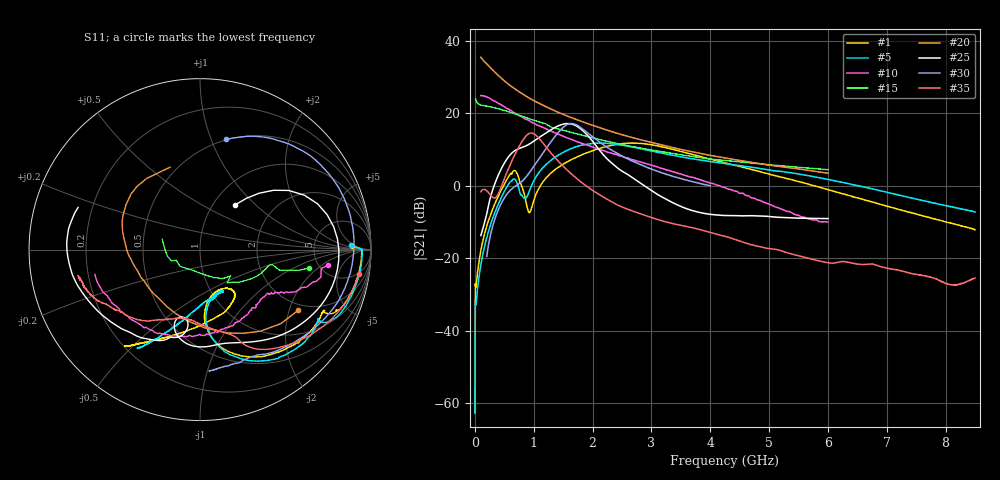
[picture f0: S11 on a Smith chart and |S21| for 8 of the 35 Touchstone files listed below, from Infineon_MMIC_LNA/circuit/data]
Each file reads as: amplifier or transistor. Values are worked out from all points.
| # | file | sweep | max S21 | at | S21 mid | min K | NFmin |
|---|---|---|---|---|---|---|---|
| 1 | BGA7H1N6_1p8V.S2P | 100 kHz to 8.5 GHz | 11.7 dB | 2.694 GHz | 6.3 dB at 4.25 GHz | -797.84 | 0.57 dB |
| 2 | BGA7H1N6_2p8V.S2P | 100 kHz to 8.5 GHz | 11.8 dB | 2.694 GHz | 6.4 dB at 4.25 GHz | -5089.96 | 0.57 dB |
| 3 | BGA7L1N6_1p8V.s2p | 100 kHz to 8.5 GHz | 10.3 dB | 1.015 GHz | -1.1 dB at 4.25 GHz | -699.03 | 0.59 dB |
| 4 | BGA7L1N6_2p8V.s2p | 100 kHz to 8.5 GHz | 10.4 dB | 1.015 GHz | -1.1 dB at 4.25 GHz | -208.85 | 0.59 dB |
| 5 | BGA7M1N6_1p8V.S2P | 100 kHz to 8.5 GHz | 11.7 dB | 2.125 GHz | 6.1 dB at 4.25 GHz | -286.44 | 0.54 dB |
| 6 | BGA7M1N6_2p8V.S2P | 100 kHz to 8.5 GHz | 11.8 dB | 2.157 GHz | 6.2 dB at 4.25 GHz | -452.27 | 0.54 dB |
| 7 | BGA231N7_1p8V.s2p | 10 MHz to 13.5 GHz | 14.2 dB | 1.629 GHz | -13.1 dB at 6.755 GHz | 1.12 | 0.53 dB |
| 8 | BGA231N7_2p6V.s2p | 10 MHz to 13.5 GHz | 14.3 dB | 1.629 GHz | -13.1 dB at 6.755 GHz | 1.15 | 0.54 dB |
| 9 | BGA416_3p0V.s2p | 100 MHz to 6 GHz | 22.4 dB | 150 MHz | 4.7 dB at 3.05 GHz | 1.87 | - |
| 10 | BGA416_4p0V.s2p | 100 MHz to 6 GHz | 24.8 dB | 100 MHz | 5.4 dB at 3.05 GHz | 0.77 | - |
| 11 | BGA416_5p0V.s2p | 100 MHz to 6 GHz | 26.4 dB | 100 MHz | 5.7 dB at 3.05 GHz | 0.85 | - |
| 12 | BGA420_2p0V.S2P | 10 MHz to 6 GHz | 17.7 dB | 10 MHz | 13.3 dB at 1.4 GHz | 1.34 | - |
| 13 | BGA420_3p0V.S2P | 10 MHz to 6 GHz | 21.2 dB | 10 MHz | 14.9 dB at 1.4 GHz | 1.37 | - |
| 14 | BGA420_4p0V.S2P | 10 MHz to 6 GHz | 22.9 dB | 10 MHz | 15.4 dB at 1.4 GHz | 1.40 | - |
| 15 | BGA420_5p0V.S2P | 10 MHz to 6 GHz | 23.9 dB | 10 MHz | 15.7 dB at 1.4 GHz | 1.40 | - |
| 16 | BGA427_2p0V.S2P | 10 MHz to 6 GHz | 27.6 dB | 10 MHz | 18.4 dB at 1.4 GHz | 0.71 | - |
| 17 | BGA427_3p0V.S2P | 10 MHz to 6 GHz | 31.9 dB | 10 MHz | 21.5 dB at 1.4 GHz | 0.43 | - |
| 18 | BGA427_4p0V.S2P | 10 MHz to 6 GHz | 34.1 dB | 10 MHz | 22.8 dB at 1.4 GHz | 0.29 | - |
| 19 | BGA427_5p0V.S2P | 10 MHz to 6 GHz | 35.5 dB | 10 MHz | 23.6 dB at 1.4 GHz | 0.25 | - |
| 20 | BGA428_2p75V.s2p | 100 MHz to 6 GHz | 35.4 dB | 100 MHz | 19.6 dB at 1.5 GHz | 1.10 | - |
| 21 | BGA524N6_1p8V.s2p | 19.05 MHz to 10 GHz | 16.9 dB | 1.575 GHz | -7.9 dB at 5.013 GHz | 3.17 | 0.59 dB |
| 22 | BGA524N6_2p8V.s2p | 19.05 MHz to 10 GHz | 16.9 dB | 1.588 GHz | -7.7 dB at 5.013 GHz | 3.14 | 0.59 dB |
| 23 | BGA612_5p0V.s2p | 100 MHz to 8 GHz | 17.8 dB | 200 MHz | 12.8 dB at 4.1 GHz | 1.04 | - |
| 24 | BGA614_5p0V.s2p | 100 MHz to 8 GHz | 19.4 dB | 200 MHz | 13.4 dB at 4.1 GHz | 1.03 | - |
| 25 | BGA615L7_2p8V.s2p | 100 MHz to 6 GHz | 17.1 dB | 1.575 GHz | -1.9 dB at 3.05 GHz | 0.92 | 0.90 dB |
| 26 | BGA622L7_2p75V_OnMode.s2p | 100 MHz to 10 GHz | 19.1 dB | 500 MHz | 10.3 dB at 5.05 GHz | 1.35 | 0.81 dB |
| 27 | BGA711N7_2p8V_HighGain.s2p | 202.2 MHz to 8.5 GHz | 15.7 dB | 2.146 GHz | -0.5 dB at 4.351 GHz | 3.64 | 0.85 dB |
| 28 | BGA713N7_2p8V_HighGain.s2p | 202.2 MHz to 8.5 GHz | 14.7 dB | 903.4 MHz | -14.8 dB at 4.351 GHz | 3.92 | 0.82 dB |
| 29 | BGA715N7_1p8V.s2p | 200 MHz to 4 GHz | 17.1 dB | 1.635 GHz | 12.0 dB at 2.1 GHz | 7.00 | 0.53 dB |
| 30 | BGA715N7_2p8V.s2p | 200 MHz to 4 GHz | 17.1 dB | 1.64 GHz | 12.2 dB at 2.1 GHz | 6.98 | 0.52 dB |
| 31 | BGA725L6_1p8V.s2p | 100 MHz to 6 GHz | 17.9 dB | 1.584 GHz | 14.8 dB at 1.818 GHz | 2.32 | 0.63 dB |
| 32 | BGA725L6_2p8V.s2p | 100 MHz to 6 GHz | 17.9 dB | 1.599 GHz | 15.1 dB at 1.818 GHz | 2.10 | 0.63 dB |
| 33 | BGA728L7_2p8V_HighGain.s2p | 30 kHz to 6 GHz | 16.1 dB | 675 MHz | 7.5 dB at 3 GHz | 1.61 | - |
| 34 | BGA735N16_HB_2p8V_HighGain.s2p | 101.2 MHz to 8.5 GHz | 15.9 dB | 2.2 GHz | 2.4 dB at 4.303 GHz | 2.72 | 0.86 dB |
| 35 | BGA735N16_LB_2p8V_HighGain.s2p | 101.2 MHz to 8.5 GHz | 14.5 dB | 945.9 MHz | -14.2 dB at 4.303 GHz | 3.88 | 0.81 dB |

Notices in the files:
DesignKits/Infineon_MMIC_LNA/circuit/data/BGA420_2p0V.S2P:
(c) 1999  Infineon Technologies AG, Munich
DesignKits/Infineon_MMIC_LNA/circuit/data/BGA524N6_1p8V.s2p:
(c) 2013 Infineon Technologies AG
DesignKits/Infineon_MMIC_LNA/circuit/data/BGA725L6_1p8V.s2p:
(c) 2012 Infineon Technologies AG
DesignKits/Infineon_MMIC_LNA/circuit/data/BGA7H1N6_1p8V.S2P:
(c) 2014 Infineon Technologies AG
